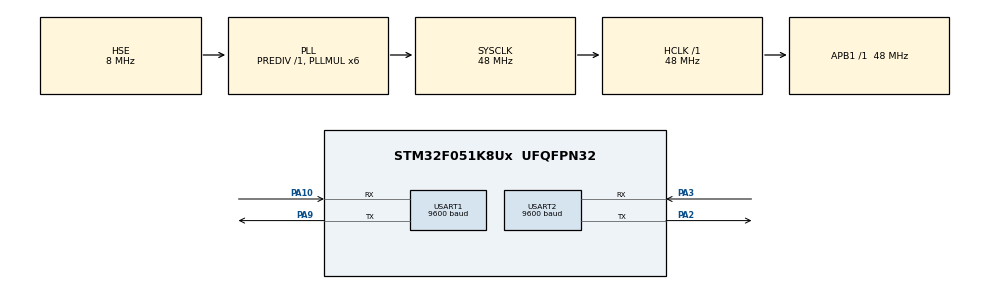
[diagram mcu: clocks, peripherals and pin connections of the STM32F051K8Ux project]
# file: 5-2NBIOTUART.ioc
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Dma.Request0=USART2_RX
Dma.USART2_RX.0.Direction=DMA_PERIPH_TO_MEMORY
Dma.USART2_RX.0.Instance=DMA1_Channel5
Dma.USART2_RX.0.MemDataAlignment=DMA_MDATAALIGN_BYTE
Dma.USART2_RX.0.MemInc=DMA_MINC_ENABLE
Dma.USART2_RX.0.Mode=DMA_NORMAL
Dma.USART2_RX.0.PeriphDataAlignment=DMA_PDATAALIGN_BYTE
Dma.USART2_RX.0.PeriphInc=DMA_PINC_DISABLE
Dma.USART2_RX.0.Priority=DMA_PRIORITY_LOW
Mcu.Family=STM32F0
Mcu.Name=STM32F051K8Ux
Mcu.Package=UFQFPN32
NVIC.DMA1_Channel4_5_IRQn=true\:0\:0\:false\:false\:true\:false\:true\:true
NVIC.USART1_IRQn=true\:0\:0\:false\:false\:true\:true\:true\:true
NVIC.USART2_IRQn=true\:0\:0\:false\:false\:true\:true\:true\:true
PA10.Mode=Asynchronous
PA10.Signal=USART1_RX
PA2.Mode=Asynchronous
PA2.Signal=USART2_TX
PA3.Mode=Asynchronous
PA3.Signal=USART2_RX
PA9.Mode=Asynchronous
PA9.Signal=USART1_TX
PF0-OSC_IN.Mode=HSE-External-Oscillator
PF0-OSC_IN.Signal=RCC_OSC_IN
PF1-OSC_OUT.Mode=HSE-External-Oscillator
PF1-OSC_OUT.Signal=RCC_OSC_OUT
ProjectManager.HeapSize=0x200
ProjectManager.StackSize=0x400
ProjectManager.TargetToolchain=MDK-ARM V5.32
RCC.AHBFreq_Value=48000000
RCC.APB1Freq_Value=48000000
RCC.APB1TimFreq_Value=48000000
RCC.HCLKFreq_Value=48000000
RCC.PLLMUL=RCC_PLL_MUL6
RCC.PLLSourceVirtual=RCC_PLLSOURCE_HSE
RCC.SYSCLKFreq_VALUE=48000000
RCC.SYSCLKSource=RCC_SYSCLKSOURCE_PLLCLK
USART1.BaudRate=9600
USART1.VirtualMode-Asynchronous=VM_ASYNC
USART2.BaudRate=9600
USART2.VirtualMode-Asynchronous=VM_ASYNC
board=custom

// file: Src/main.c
/* USER CODE BEGIN Header */
/**
  ******************************************************************************
  * @file           : main.c
  * @brief          : Main program body
  ******************************************************************************
  * @attention
  *
  * Copyright (c) 2023 STMicroelectronics.
  * All rights reserved.
  *
  * This software is licensed under terms that can be found in the LICENSE file
  * in the root directory of this software component.
  * If no LICENSE file comes with this software, it is provided AS-IS.
  *
  ******************************************************************************
  */
/* USER CODE END Header */
#include "main.h"
#include "dma.h"
#include "usart.h"
#include "gpio.h"

/* USER CODE BEGIN Includes */
#include "stdio.h"
#include "string.h"
/* USER CODE END Includes */

/* USER CODE BEGIN PTD */
#define LEN 256
/* USER CODE END PTD */

/* USER CODE BEGIN PV */
uint8_t data[LEN]={0};
uint8_t recelen;
uint8_t dmaflag=0;
/* USER CODE END PV */

void SystemClock_Config(void);
/* USER CODE BEGIN PFP */
int fputc(int ch,FILE *fp){
  HAL_UART_Transmit(&huart1,(uint8_t *)&ch,1,HAL_MAX_DELAY);
  return ch;
}
/* USER CODE END PFP */

int main(void)
{
  /* USER CODE BEGIN 1 */
  uint8_t tmp;
  /* USER CODE END 1 */

  /* MCU Configuration--------------------------------------------------------*/

  /* Reset of all peripherals, Initializes the Flash interface and the Systick. */
  HAL_Init();

  /* Configure the system clock */
  SystemClock_Config();

  /* Initialize all configured peripherals */
  MX_GPIO_Init();
  MX_DMA_Init();
  MX_USART1_UART_Init();
  MX_USART2_UART_Init();
  /* USER CODE BEGIN 2 */
  __HAL_UART_ENABLE_IT(&huart2,UART_IT_IDLE);
  __HAL_UART_CLEAR_FLAG(&huart2,UART_CLEAR_IDLEF);
  HAL_UART_Receive_DMA(&huart2,data,LEN);
  /* USER CODE END 2 */

  /* Infinite loop */
  while (1)
  {

    /* USER CODE BEGIN 3 */
    HAL_UART_Receive_IT(&huart1,&tmp,1);
    if(dmaflag==1){
      printf("%s",data);
      memset(data,0,LEN);
      HAL_UART_Receive_DMA(&huart2,data,LEN);
      dmaflag=0;
    }
  }
  /* USER CODE END 3 */
}

void SystemClock_Config(void)
{
  RCC_OscInitTypeDef RCC_OscInitStruct = {0};
  RCC_ClkInitTypeDef RCC_ClkInitStruct = {0};
  RCC_PeriphCLKInitTypeDef PeriphClkInit = {0};

  /** Initializes the RCC Oscillators according to the specified parameters
  * in the RCC_OscInitTypeDef structure.
  */
  RCC_OscInitStruct.OscillatorType = RCC_OSCILLATORTYPE_HSE;
  RCC_OscInitStruct.HSEState = RCC_HSE_ON;
  RCC_OscInitStruct.PLL.PLLState = RCC_PLL_ON;
  RCC_OscInitStruct.PLL.PLLSource = RCC_PLLSOURCE_HSE;
  RCC_OscInitStruct.PLL.PLLMUL = RCC_PLL_MUL6;
  RCC_OscInitStruct.PLL.PREDIV = RCC_PREDIV_DIV1;
  if (HAL_RCC_OscConfig(&RCC_OscInitStruct) != HAL_OK)
  {
    Error_Handler();
  }

  /** Initializes the CPU, AHB and APB buses clocks
  */
  RCC_ClkInitStruct.ClockType = RCC_CLOCKTYPE_HCLK|RCC_CLOCKTYPE_SYSCLK
                              |RCC_CLOCKTYPE_PCLK1;
  RCC_ClkInitStruct.SYSCLKSource = RCC_SYSCLKSOURCE_PLLCLK;
  RCC_ClkInitStruct.AHBCLKDivider = RCC_SYSCLK_DIV1;
  RCC_ClkInitStruct.APB1CLKDivider = RCC_HCLK_DIV1;

  if (HAL_RCC_ClockConfig(&RCC_ClkInitStruct, FLASH_LATENCY_1) != HAL_OK)
  {
    Error_Handler();
  }
  PeriphClkInit.PeriphClockSelection = RCC_PERIPHCLK_USART1;
  PeriphClkInit.Usart1ClockSelection = RCC_USART1CLKSOURCE_PCLK1;
  if (HAL_RCCEx_PeriphCLKConfig(&PeriphClkInit) != HAL_OK)
  {
    Error_Handler();
  }
}

void Error_Handler(void)
{
  __disable_irq();
  while (1)
  {
  }
}
